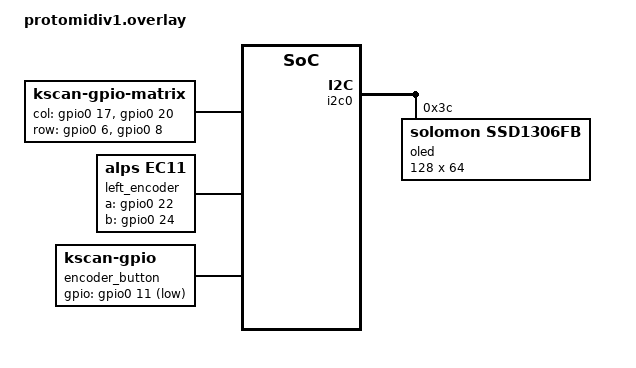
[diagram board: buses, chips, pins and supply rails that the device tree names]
#include <dt-bindings/zmk/matrix_transform.h>
#include <behaviors.dtsi>
#include <dt-bindings/zmk/keys.h>

#include "protomidiv1-layouts.dtsi"

/ {
    chosen {
        zmk,physical-layout = &default_layout;
        zmk,kscan = &kscan;
        zephyr,display = &oled;
    };

    kscan: kscan {
        compatible = "zmk,kscan-gpio-matrix";
        diode-direction = "col2row";
        wakeup-source;

        col-gpios
            = <&gpio0 17 GPIO_ACTIVE_HIGH>
            , <&gpio0 20 GPIO_ACTIVE_HIGH>
            ;

        row-gpios
            = <&gpio0 6 (GPIO_ACTIVE_HIGH | GPIO_PULL_DOWN)>
            , <&gpio0 8 (GPIO_ACTIVE_HIGH | GPIO_PULL_DOWN)>
            ;
    };

    left_encoder: encoder_left {
        compatible = "alps,ec11";
        a-gpios = <&gpio0 22 (GPIO_ACTIVE_HIGH | GPIO_PULL_UP)>;
        b-gpios = <&gpio0 24 (GPIO_ACTIVE_HIGH | GPIO_PULL_UP)>;
        steps = <80>;
        status = "okay";
    };

    zmk,sensors {
        compatible = "zmk,keymap-sensors";
        sensors = <&left_encoder>;
    };

    sensors: sensors {
        compatible = "zmk,keymap-sensors";
        sensors = <&left_encoder>;
        triggers-per-rotation = <20>;
    };

    encoder_button: encoder_button {
        compatible = "zmk,kscan-gpio";
        gpios = <&gpio0 11 (GPIO_PULL_UP | GPIO_ACTIVE_LOW)>;
    };

    default_transform: default_transform {
        compatible = "zmk,matrix-transform";
        columns = <2>;
        rows = <2>;

        map = <
            0 1
            2 3
        >;
    };
};

&i2c0 {
    status = "okay";

    oled: ssd1306@3c {
        compatible = "solomon,ssd1306fb";
        reg = <0x3c>;

        width = <128>;
        height = <64>;

        segment-offset = <0>;
        page-offset = <0>;

        display-offset = <0>;
        multiplex-ratio = <63>;

        segment-remap;
        com-invdir;

        com-sequential;
        prechargep = <0x22>;
    };
};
